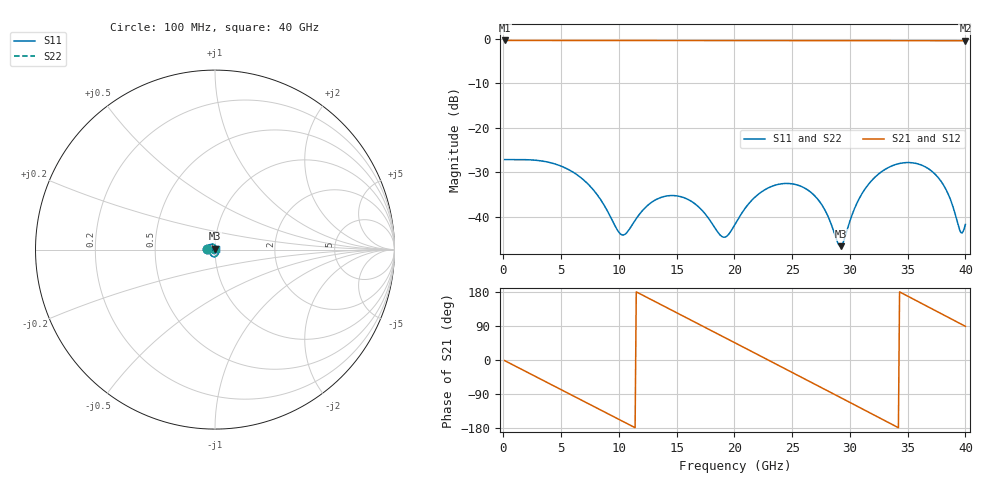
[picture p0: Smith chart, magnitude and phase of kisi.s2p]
! thru_ts6_L1: 2×thru, L1, 8 mm
! stackup: ThunderScope Rev5.3 6-layer (FR408HR / FR-4, from the board file)
! ports: 1, 2
! kisi-fdtd, conformal, dfine 0.035 mm, 365568 cells
# Hz S RI R 50
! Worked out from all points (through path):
!   400 points, 100 MHz to 40 GHz, reference 50 ohm
!   highest |S21| = -0.40 dB at 100 MHz (marker M1); lowest = -0.5 dB at 40 GHz (marker M2)
!   group delay of S21, straight-line fit = 43.8 ps
!   lowest |S11| = -46.6 dB at 29.2 GHz (marker M3), VSWR 1.01, Z = 50.1 + j0.452 ohm
!   |S11| at or under -10 dB: start of sweep to end of sweep
!   |S22| runs from -46.6 to -27.2 dB; largest |S21 - S12| = 0
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1e8  -0.0437 0.000637  0.9541 -0.0261  0.9541 -0.0261  -0.0437 0.000637
1.9e9  -0.0418 0.0127  0.8283 -0.474  0.8283 -0.474  -0.0418 0.0127
3.8e9  -0.0323 0.0255  0.4834 -0.8223  0.4834 -0.8223  -0.0323 0.0255
6.8e9  -0.0035 0.0265  -0.2715 -0.914  -0.2715 -0.914  -0.0035 0.0265
1.03e10  0.00553 -0.00285  -0.9035 -0.3038  -0.9035 -0.3038  0.00553 -0.00285
1.34e10  -0.0134 -0.00873  -0.8246 0.4776  -0.8246 0.4776  -0.0134 -0.00873
1.52e10  -0.0169 0.000637  -0.4998 0.8111  -0.4998 0.8111  -0.0169 0.000637
1.68e10  -0.0107 0.00778  -0.1074 0.9464  -0.1074 0.9464  -0.0107 0.00778
1.9e10  0.00375 0.00456  0.4493 0.8395  0.4493 0.8395  0.00375 0.00456
2.01e10  0.00794 -0.00278  0.6788 0.6674  0.6788 0.6674  0.00794 -0.00278
2.17e10  0.00603 -0.015  0.8982 0.3144  0.8982 0.3144  0.00603 -0.015
2.33e10  -0.00406 -0.0217  0.9462 -0.0987  0.9462 -0.0987  -0.00406 -0.0217
2.49e10  -0.0151 -0.018  0.8132 -0.493  0.8132 -0.493  -0.0151 -0.018
2.67e10  -0.0177 -0.00494  0.4798 -0.8207  0.4798 -0.8207  -0.0177 -0.00494
2.92e10  0.00113 0.00451  -0.1532 -0.9379  -0.1532 -0.9379  0.00113 0.00451
3.11e10  0.0163 -0.00902  -0.6032 -0.7339  -0.6032 -0.7339  0.0163 -0.00902
3.34e10  0.00888 -0.0349  -0.9212 -0.2305  -0.9212 -0.2305  0.00888 -0.0349
3.52e10  -0.0134 -0.0382  -0.9185 0.2392  -0.9185 0.2392  -0.0134 -0.0382
3.7e10  -0.0271 -0.019  -0.6907 0.6502  -0.6907 0.6502  -0.0271 -0.019
3.84e10  -0.0192 -0.000234  -0.3917 0.8634  -0.3917 0.8634  -0.0192 -0.000234
3.96e10  -0.00105 0.00657  -0.0867 0.9437  -0.0867 0.9437  -0.00105 0.00657
4e10  0.00592 0.00562  0.0188 0.9474  0.0188 0.9474  0.00592 0.00562
